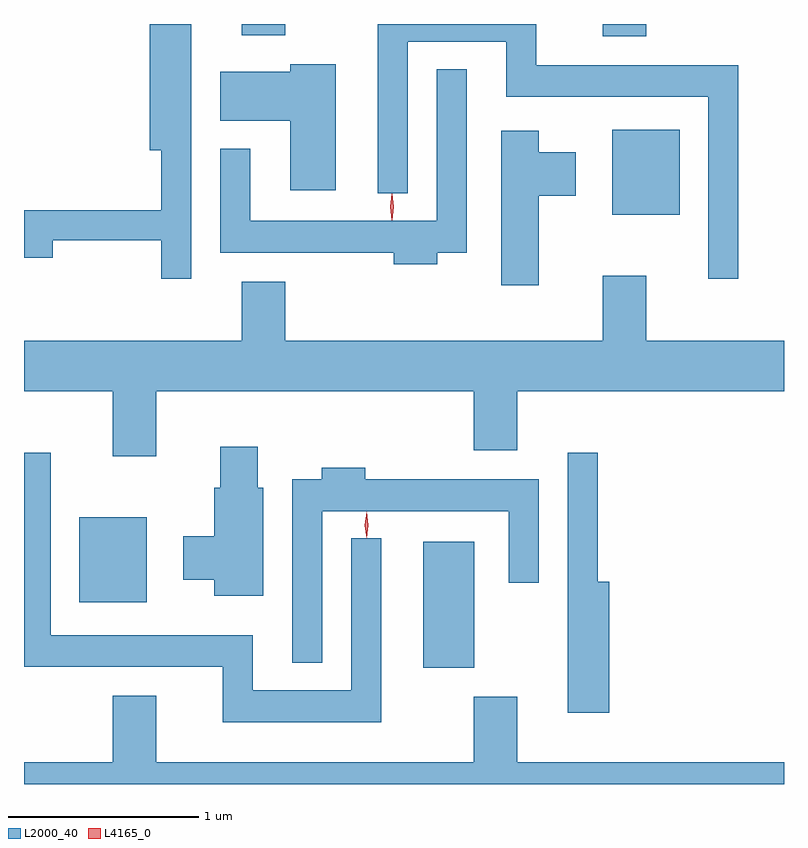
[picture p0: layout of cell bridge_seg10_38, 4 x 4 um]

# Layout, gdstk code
import gdstk
lib = gdstk.Library(unit=1e-6, precision=1e-09)
def R(c, l, rs):  # rectangles x0, y0, x1, y1
    for r in rs: c.add(gdstk.rectangle(r[:2], r[2:], *l))
def P(c, l, *ps):  # polygons
    for p in ps: c.add(gdstk.Polygon(p, *l))
L2000_40 = (2000, 40)
L4165_0 = (4165, 0)

bridge_seg10_38 = lib.new_cell('bridge_seg10_38')
R(bridge_seg10_38, L2000_40, [(1596.466,2207.921,1596.734,2208.584), (1594.656,2208.266,1595.009,2208.714), (1597.461,2210.306,1597.814,2210.754), (1597.411,2211.246,1597.639,2211.31), (1595.511,2211.251,1595.739,2211.31)])
P(bridge_seg10_38, L2000_40, [(1598.124,2211.094),(1597.059,2211.094),(1597.059,2211.31),(1596.226,2211.31),(1596.226,2210.418),(1596.384,2210.418),(1596.384,2211.216),(1596.901,2211.216),(1596.901,2210.926),(1597.966,2210.926),(1597.966,2209.968),(1598.124,2209.968)],
  [(1595.244,2211.31),(1595.026,2211.31),(1595.026,2210.646),(1595.086,2210.646),(1595.086,2210.329),(1594.364,2210.329),(1594.364,2210.081),(1594.514,2210.081),(1594.514,2210.171),(1595.086,2210.171),(1595.086,2209.968),(1595.244,2209.968)],
  [(1596.004,2211.099),(1595.766,2211.099),(1595.766,2211.059),(1595.396,2211.059),(1595.396,2210.801),(1595.766,2210.801),(1595.766,2210.436),(1596.004,2210.436)],
  [(1596.539,2210.106),(1596.694,2210.106),(1596.694,2211.073),(1596.536,2211.073),(1596.536,2210.274),(1595.554,2210.274),(1595.554,2210.653),(1595.396,2210.653),(1595.396,2210.106),(1596.311,2210.106),(1596.311,2210.046),(1596.539,2210.046)],
  [(1597.074,2210.406),(1597.269,2210.406),(1597.269,2210.634),(1597.074,2210.634),(1597.074,2210.749),(1596.876,2210.749),(1596.876,2209.936),(1597.074,2209.936)],
  [(1595.059,2209.376),(1596.731,2209.376),(1596.731,2209.066),(1596.959,2209.066),(1596.959,2209.376),(1598.364,2209.376),(1598.364,2209.644),(1597.639,2209.644),(1597.639,2209.984),(1597.411,2209.984),(1597.411,2209.644),(1595.739,2209.644),(1595.739,2209.954),(1595.511,2209.954),(1595.511,2209.644),(1594.364,2209.644),(1594.364,2209.376),(1594.831,2209.376),(1594.831,2209.036),(1595.059,2209.036)],
  [(1595.624,2208.869),(1595.594,2208.869),(1595.594,2209.084),(1595.396,2209.084),(1595.396,2208.869),(1595.366,2208.869),(1595.366,2208.614),(1595.201,2208.614),(1595.201,2208.386),(1595.366,2208.386),(1595.366,2208.301),(1595.624,2208.301)],
  [(1596.244,2208.603),(1596.086,2208.603),(1596.086,2207.804),(1595.569,2207.804),(1595.569,2208.094),(1594.504,2208.094),(1594.504,2209.053),(1594.364,2209.053),(1594.364,2207.926),(1595.411,2207.926),(1595.411,2207.636),(1596.244,2207.636)],
  [(1597.444,2208.374),(1597.384,2208.374),(1597.384,2209.053),(1597.226,2209.053),(1597.226,2207.686),(1597.444,2207.686)],
  [(1595.934,2208.746),(1596.916,2208.746),(1596.916,2208.368),(1597.074,2208.368),(1597.074,2208.914),(1596.159,2208.914),(1596.159,2208.974),(1595.931,2208.974),(1595.931,2208.914),(1595.776,2208.914),(1595.776,2207.948),(1595.934,2207.948)],
  [(1598.364,2207.424),(1596.959,2207.424),(1596.959,2207.769),(1596.731,2207.769),(1596.731,2207.424),(1595.059,2207.424),(1595.059,2207.774),(1594.831,2207.774),(1594.831,2207.424),(1594.364,2207.424),(1594.364,2207.31),(1598.364,2207.31)])
P(bridge_seg10_38, L4165_0, [(1596.167,2208.604),(1596.167,2208.604),(1596.157,2208.673),(1596.167,2208.742),(1596.167,2208.743),(1596.168,2208.742),(1596.177,2208.673),(1596.168,2208.604)],
  [(1596.3,2210.277),(1596.3,2210.278),(1596.291,2210.347),(1596.3,2210.416),(1596.301,2210.416),(1596.301,2210.416),(1596.31,2210.347),(1596.301,2210.278)])

lib.write_gds('bridge_seg10_38.gds')
